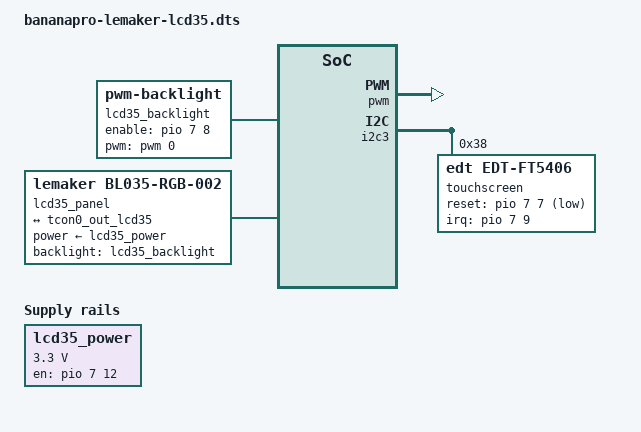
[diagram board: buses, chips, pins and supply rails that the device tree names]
// SPDX-License-Identifier: GPL-2.0
/*
 * Nakladka Device Tree: LeMaker 3.5" RGB 320x240 (BL035-RGB-002) + dotyk FT5x06
 * Plyta: LeMaker Banana Pro (Allwinner A20), jadro mainline (Armbian current/edge)
 *
 * Zrodlo parametrow: fex/banana_pro_35lcd.fex z LeMaker/fex_configuration
 *
 * Instalacja na Armbian:
 *   sudo armbian-add-overlay bananapro-lemaker-lcd35.dts
 *   reboot
 *
 * Nie wlaczaj jednoczesnie z nakladka 7" (obie uzywaja TCON0 i tych samych pinow).
 * Status: niesprawdzony na sprzecie (brak ekranu). Wspolne z 5" (sprawdzonym):
 * zlacze RGB, piny, zasilanie, podswietlenie i dotyk.
 */

/dts-v1/;
/plugin/;

/* Sciaga:  bank H = 7,  GPIO_ACTIVE_HIGH = 0,  PWM polaryzacja 0 = normalna */

&{/} {
	/* CO: zasilanie matrycy na PH12, tak samo jak w fex. */
	lcd35_power: lcd35-power {
		compatible = "regulator-fixed";
		regulator-name = "lcd35-power";
		regulator-min-microvolt = <3300000>;
		regulator-max-microvolt = <3300000>;
		gpio = <&pio 7 12 0>;		/* PH12 */
		enable-active-high;
	};

	/* CO: podswietlenie PWM0 (PB2) + wlacznik PH8. Patrz uwagi w nakladce 7". */
	lcd35_backlight: lcd35-backlight {
		compatible = "pwm-backlight";
		pwms = <&pwm 0 50000 0>;
		brightness-levels = <0 255>;
		num-interpolated-steps = <255>;
		default-brightness-level = <200>;
		enable-gpios = <&pio 7 8 0>;	/* PH8 */
	};

	/*
	 * CO: sam panel.
	 * DLACZEGO bez timingow: ten konkretny wyswietlacz LeMakera jest juz
	 * opisany w sterowniku panel-simple w mainline ("lemaker,bl035-rgb-002"),
	 * z timingami zgodnymi z fex (7 MHz, htotal 408, vtotal 524/2 = 262).
	 */
	lcd35_panel: lcd35-panel {
		compatible = "lemaker,bl035-rgb-002";
		power-supply = <&lcd35_power>;
		backlight = <&lcd35_backlight>;

		port {
			lcd35_panel_in: endpoint {
				remote-endpoint = <&tcon0_out_lcd35>;
			};
		};
	};
};

/*
 * CO: grupa pinow PD0-PD27 jako rownolegle wyjscie RGB (funkcja "lcd0").
 * DLACZEGO wlasna grupa: plik bazowy A20 ma gotowe grupy tylko dla LVDS,
 * dla RGB na porcie D nie ma nic.
 * UWAGA PD25 (sygnal DE): fex ustawial go jako zwykle wyjscie w stanie niskim,
 * a mainline zaklada DE aktywne w stanie niskim. Jesli obraz bedzie przesuniety
 * lub "plywa", usun "PD25" z listy ponizej i przytrzymaj go nisko gpio-hogiem.
 */
&pio {
	lcd35_rgb888_pins: lcd35-rgb888-pins {
		pins = "PD0", "PD1", "PD2", "PD3", "PD4", "PD5", "PD6", "PD7",
		       "PD8", "PD9", "PD10", "PD11", "PD12", "PD13", "PD14", "PD15",
		       "PD16", "PD17", "PD18", "PD19", "PD20", "PD21", "PD22", "PD23",
		       "PD24", "PD25", "PD26", "PD27";
		function = "lcd0";
	};
};

&tcon0 {
	pinctrl-names = "default";
	pinctrl-0 = <&lcd35_rgb888_pins>;
};

/* CO: polaczenie TCON0 -> panel na porcie 1, endpoint 0 (wymog sterownika). */
&tcon0_out {
	#address-cells = <1>;
	#size-cells = <0>;

	tcon0_out_lcd35: endpoint@0 {
		reg = <0>;
		remote-endpoint = <&lcd35_panel_in>;
	};
};

&pwm {
	pinctrl-names = "default";
	pinctrl-0 = <&pwm0_pin>;
	status = "okay";
};

/*
 * CO: dotyk pojemnosciowy FocalTech na I2C3 (piny PI0/PI1 na zlaczu LCD).
 * Z fex: ctp_twi_id = 3, adres 0x38, przerwanie PH9, wybudzanie PH7,
 * zakres 320x240 (LeMaker dodal to w commicie "Add touch screen").
 * DLACZEGO ten sam sterownik co w 7": fex dla obu ekranow wskazuje
 * ten sam uklad (ft5x_ts), rozni sie tylko rozdzielczosc.
 * UWAGA: wymaga modulu edt-ft5x06, ktorego Armbian domyslnie nie buduje.
 */
&i2c3 {
	pinctrl-names = "default";
	pinctrl-0 = <&i2c3_pins>;
	status = "okay";
	#address-cells = <1>;
	#size-cells = <0>;

	touchscreen@38 {
		compatible = "edt,edt-ft5406";
		reg = <0x38>;
		interrupt-parent = <&pio>;
		interrupts = <7 9 2>;		/* PH9, zbocze opadajace (IRQ_TYPE_EDGE_FALLING = 2) */
		/*
		 * CO: PH7 to linia RESET ukladu dotyku (w fex: ctp_wakeup), aktywna nisko.
		 * DLACZEGO reset-gpios, a nie wake-gpios: przy wake-gpios sterownik
		 * czeka po wlaczeniu tylko 5 ms i uklad jeszcze nie odpowiada na I2C
		 * (blad "touchscreen probe failed", sprawdzone na 7"). Przy reset-gpios
		 * czeka 300 ms, tyle ile uklad FocalTech potrzebuje na start.
		 * Ostatnia liczba 1 = GPIO_ACTIVE_LOW.
		 */
		reset-gpios = <&pio 7 7 1>;	/* PH7 */
		touchscreen-size-x = <320>;
		touchscreen-size-y = <240>;
	};
};
